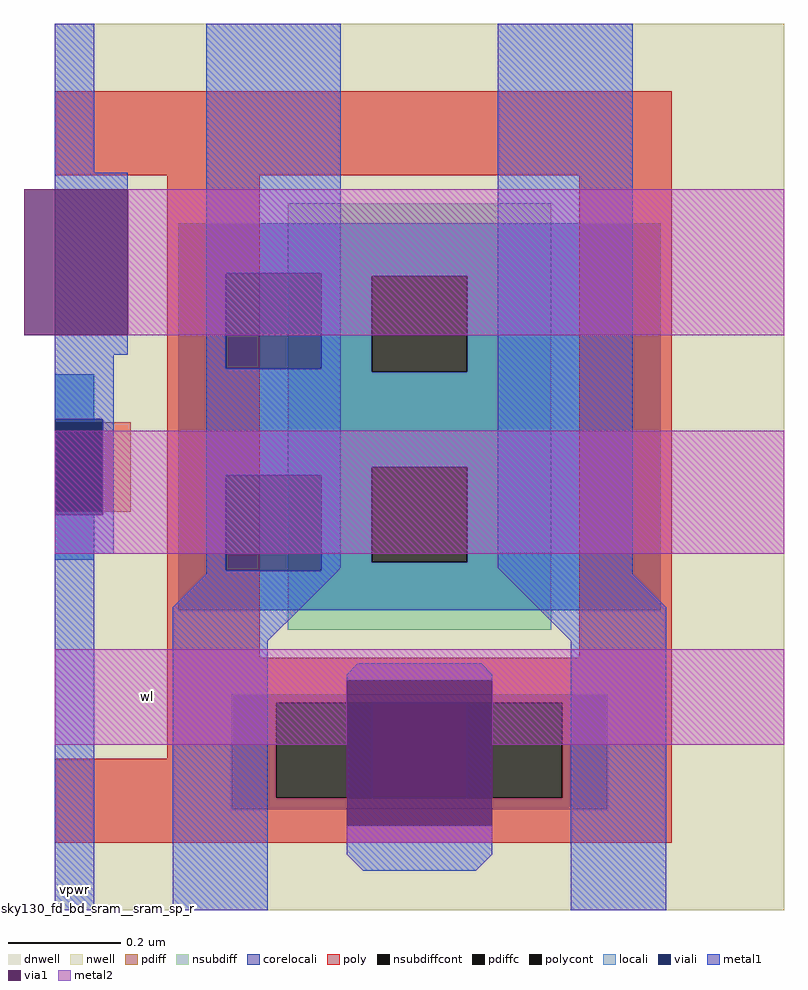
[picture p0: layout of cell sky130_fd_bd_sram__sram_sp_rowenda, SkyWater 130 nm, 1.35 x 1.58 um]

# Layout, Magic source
magic
tech sky130A
magscale 1 2
<< pdiffc >>
rect 14 142 17 174
<< locali >>
rect 0 174 14 175
rect 0 141 14 142
<< metal1 >>
rect 0 0 14 15
use sky130_fd_bd_sram__sram_sp_rowend_met2  sky130_fd_bd_sram__sram_sp_rowend_met2_0
transform 1 0 0 0 1 0
box -11 24 260 257
use sky130_fd_bd_sram__sram_sp_rowenda_p1m_siz  sky130_fd_bd_sram__sram_sp_rowenda_p1m_siz_0
transform 1 0 0 0 1 0
box 0 0 1 1
use sky130_fd_bd_sram__sram_sp_rowend_ce  sky130_fd_bd_sram__sram_sp_rowend_ce_0
transform 1 0 0 0 1 0
box 0 0 260 316
<< labels >>
flabel metal2 s 33 76 33 76 0 FreeSans 2000 0 0 0 wl
flabel metal1 s 0 0 14 15 0 FreeSans 40 90 0 0 vpwr
port 0 nsew
<< properties >>
string GDS_FILE sky130_fd_bd_sram__sram_sp_rowenda.gds
string GDS_END 3510
string GDS_START 3134
<< end >>

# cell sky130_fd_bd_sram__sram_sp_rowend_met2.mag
magic
tech sky130A
magscale 1 2
<< via1 >>
rect -11 205 26 257
rect 104 30 156 82
<< metal2 >>
rect 26 205 260 257
rect 0 127 260 171
rect 0 82 260 93
rect 0 59 104 82
rect 156 59 260 82
rect 104 24 156 30
<< properties >>
string GDS_FILE sky130_fd_bd_sram__sram_sp_rowend_met2.gds
string GDS_END 554
string GDS_START 166
<< end >>

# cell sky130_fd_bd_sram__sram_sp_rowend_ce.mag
magic
tech sky130A
magscale 1 2
<< dnwell >>
rect 0 0 260 316
<< nwell >>
rect 0 0 260 316
<< pdiff >>
rect 14 142 27 174
<< pdiffc >>
rect 0 142 14 174
<< nsubdiff >>
rect 83 226 177 252
rect 83 192 113 226
rect 147 192 177 226
rect 83 158 177 192
rect 83 124 113 158
rect 147 124 177 158
rect 83 100 177 124
<< nsubdiffcont >>
rect 113 192 147 226
rect 113 124 147 158
<< poly >>
rect 0 262 220 292
rect 40 90 73 262
rect 187 90 220 262
rect 40 74 220 90
rect 40 54 79 74
rect 0 40 79 54
rect 113 40 147 74
rect 181 40 220 74
rect 0 24 220 40
<< polycont >>
rect 79 40 113 74
rect 147 40 181 74
<< corelocali >>
rect 44 227 216 245
rect 44 193 61 227
rect 95 226 216 227
rect 95 193 113 226
rect 44 192 113 193
rect 147 192 216 226
rect 0 175 14 191
rect 44 158 216 192
rect 44 155 113 158
rect 0 125 14 141
rect 44 121 61 155
rect 95 124 113 155
rect 147 124 216 158
rect 95 121 216 124
rect 44 107 216 121
rect 63 74 197 77
rect 63 40 79 74
rect 181 40 197 74
rect 63 36 197 40
<< viali >>
rect 61 193 95 227
rect 0 174 17 175
rect 0 142 14 174
rect 14 142 17 174
rect 0 141 17 142
rect 61 121 95 155
rect 113 40 147 74
<< metal1 >>
rect 0 263 14 316
rect 0 198 26 263
rect 54 227 102 316
rect 0 175 21 198
rect 17 141 21 175
rect 0 127 21 141
rect 54 193 61 227
rect 95 193 102 227
rect 54 155 102 193
rect 0 0 14 127
rect 54 121 61 155
rect 95 122 102 155
rect 95 121 100 122
rect 54 120 100 121
tri 100 120 102 122 nw
rect 158 122 206 316
tri 158 120 160 122 ne
rect 160 120 206 122
tri 42 108 54 120 se
rect 54 108 88 120
tri 88 108 100 120 nw
tri 160 108 172 120 ne
rect 172 108 206 120
tri 206 108 218 120 sw
rect 42 0 76 108
tri 76 96 88 108 nw
tri 172 96 184 108 ne
tri 104 84 108 88 se
rect 108 84 152 88
tri 152 84 156 88 sw
rect 104 74 156 84
rect 104 40 113 74
rect 147 40 156 74
rect 104 20 156 40
tri 104 14 110 20 ne
rect 110 14 150 20
tri 150 14 156 20 nw
rect 184 0 218 108
<< properties >>
string GDS_FILE sky130_fd_bd_sram__sram_sp_rowend_ce.gds
string GDS_END 2406
string GDS_START 162
<< end >>
